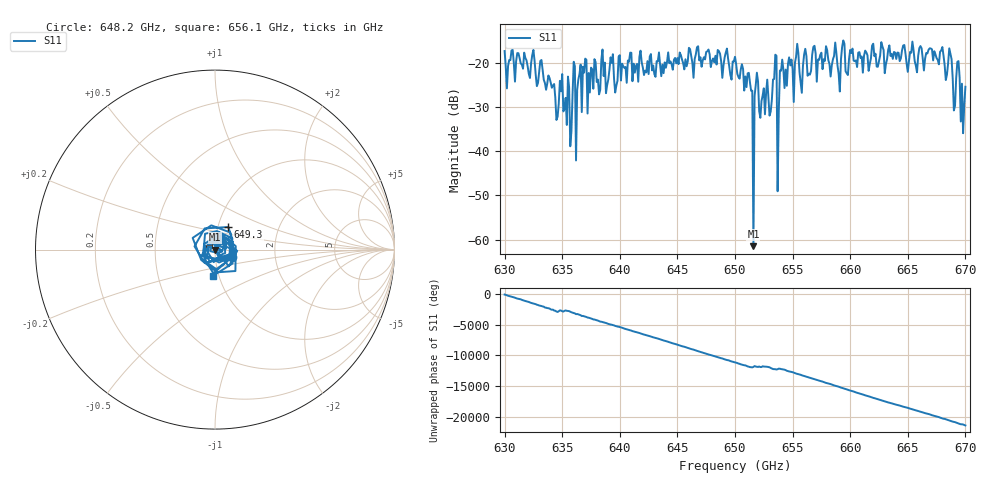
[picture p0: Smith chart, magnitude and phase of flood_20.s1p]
!Created with skrf (http://scikit-rf.org).
# GHz S RI R 50.0
!freq ReS11 ImS11
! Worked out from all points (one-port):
!   401 points, 630 GHz to 670 GHz, reference 50 ohm
!   lowest |S11| = -61.5 dB at 651.6 GHz (marker M1), VSWR 1.00, Z = 50.1 + j0.0216 ohm
!   |S11| at or under -10 dB: start of sweep to end of sweep
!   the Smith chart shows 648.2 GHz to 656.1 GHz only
!   S11 on the Smith chart (normalised r, x): 648.2 GHz: 1.20, -0.10; 649.3 GHz: 1.12, +0.29; 656.1 GHz: 0.94, -0.28
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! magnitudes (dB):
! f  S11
! 630 GHz  -17.3
! 632.5 GHz  -17.0
! 634.1 GHz  -25.6
! 634.5 GHz  -32.9
! 635 GHz  -22.5
! 635.6 GHz  -25.5
! 636.8 GHz  -20.9
! 640 GHz  -18.2
! 645 GHz  -18.9
! 648.2 GHz  -19.8
! 649.3 GHz  -16.7
! 650 GHz  -18.6
! 651.3 GHz  -24.4
! 651.4 GHz  -26.3
! 651.6 GHz  -61.5
! 651.8 GHz  -25.0
! 651.9 GHz  -22.2
! 653.1 GHz  -31.0
! 653.4 GHz  -23.6
! 653.6 GHz  -18.4
! 653.9 GHz  -21.7
! 654.1 GHz  -19.2
! 655 GHz  -21.3
! 656.1 GHz  -16.8
! 660 GHz  -17.0
! 665 GHz  -22.0
! 668 GHz  -16.4
! 670 GHz  -25.4
